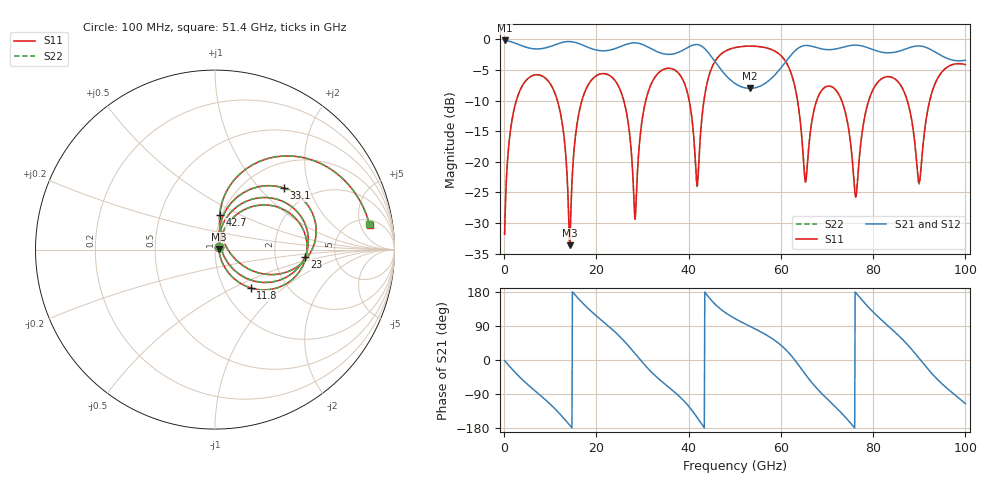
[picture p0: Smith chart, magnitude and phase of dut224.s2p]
! Touchstone file exported from HFSS 2026.1.0
!  File:  C:/ffzhzh/LocalFiles/Ansys_Project_Files/temp_train_TSV_RDL_224_1783663572_29156.aedt
!  Generated:  02:18:26 PM Jul 10, 2026
!  Design:  TSV_RDL
!  Project:  temp_train_TSV_RDL_224_1783663572_29156
! Variables:
!  h_bsmrdl = 4.41um
!  h_ox = 20um
!  h_rdl = 5um
!  h_sub = 71.99um
!  h_tmrdl = 2.58um
!  h_tsv = 71.99um
!  h_via = 3um
!  l_bsmrdl = 243.77um
!  l_sub = 4021.61um
!  l_tmrdl = 689.74um
!  m_sub = 200um
!  pitch = 51.54um
!  r_tsv = 13.02um
!  s_tmrdl = 10um
!  w_bsmrdl = 22.28um
!  w_sub = 500um
!  w_tmrdl = 21.5um
!  x_tsv_center1 = 700.49um
!  x_tsv_center2 = 966.54um
!  x_tsv_center3 = 1677.78um
!  x_tsv_center4 = 1943.83um
!  x_tsv_center5 = 2655.07um
!  x_tsv_center6 = 2921.12um
# GHz S MA R 50.000000
! Terminal data exported
! Port[1] = TM_RDL1_1_T1
! Port[2] = TM_RDL5_1_T1
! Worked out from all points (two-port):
!   1000 points, 100 MHz to 100 GHz, reference 50 ohm
!   highest |S21| = -0.19 dB at 100 MHz (marker M1); lowest = -8.0 dB at 53.3 GHz (marker M2)
!   |S21| within 3 dB of the highest: start of sweep to 45.27 GHz; 61.55 GHz to 96.3 GHz (34.75 GHz wide, 44 % of centre)
!   lowest |S11| = -33.6 dB at 14.2 GHz (marker M3), VSWR 1.04, Z = 52.1 + j0.123 ohm
!   |S11| at or under -10 dB: 11.54 GHz to 16.86 GHz (5.32 GHz wide, 37.5 % of centre); 25.93 GHz to 30.71 GHz (4.779 GHz wide, 16.9 % of centre); 73.17 GHz to 79.04 GHz (5.87 GHz wide, 7.71 % of centre) (the widest 3 of 7)
!   |S22| runs from -33.8 to -1.1 dB; largest |S21 - S12| = 1.4e-11
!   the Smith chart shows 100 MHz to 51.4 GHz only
!   S11 on the Smith chart (normalised r, x): 100 MHz: 1.04, +0.03; 11.8 GHz: 1.33, -0.62; 23 GHz: 2.98, -0.33; 33.1 GHz: 1.47, +1.38; 42.7 GHz: 0.98, +0.39; 51.4 GHz: 6.23, +7.20
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0.1  0.0256 33.5  0.9789 -1.5  0.9789 -1.5  0.0256 33.5
! Gamma 0 0 0 0
! Port Impedance 50 0 50 0
3.7  0.4016 37.5  0.8901 -48.9  0.8901 -48.9  0.4016 37.5
11.8  0.2914 -47.1  0.9244 -138.7  0.9244 -138.7  0.2914 -47.1
14.2  0.02085 3.2  0.9587 -171.6  0.9587 -171.6  0.02044 3.1
16.8  0.3103 58.2  0.9043 152.9  0.9043 152.9  0.3102 58.4
23  0.5026 -4.7  0.8177 85.4  0.8177 85.4  0.5027 -4.6
28.4  0.0339 19.4  0.936 16.5  0.936 16.5  0.03557 19.1
33.1  0.514 42.0  0.7945 -45.2  0.7945 -45.2  0.514 41.8
33.4  0.5289 39.0  0.7858 -48.5  0.7858 -48.5  0.5289 38.9
39.4  0.405 -18.7  0.8412 -113.4  0.8412 -113.4  0.4048 -18.8
42.7  0.194 82.2  0.8846 -166.9  0.8846 -166.9  0.1936 82.5
50.1  0.8564 17.0  0.4348 108.9  0.4348 108.9  0.8563 17.1
51.4  0.8721 9.1  0.4099 100.5  0.4099 100.5  0.872 9.2
53.3  0.8799 -1.7  0.3971 88.8  0.3971 88.8  0.8798 -1.5
60.9  0.6703 -56.0  0.6446 29.2  0.6446 29.2  0.6704 -55.6
65.3  0.06819 -40.3  0.8908 -37.8  0.8908 -37.8  0.07266 -39.8
66.7  0.2123 15.8  0.8778 -59.6  0.8778 -59.6  0.2136 14.9
71.9  0.3856 -32.5  0.8344 -124.7  0.8344 -124.7  0.3859 -32.6
75.7  0.08184 -47.5  0.8958 -174.8  0.8958 -174.8  0.0835 -46.5
83.4  0.4957 -2.1  0.7755 88.2  0.7755 88.2  0.4956 -2.5
90.4  0.09095 39.7  0.88 -2.1  0.88 -2.1  0.09008 40.2
100  0.6219 -24.5  0.6758 -115.4  0.6758 -115.4  0.6218 -24.4
